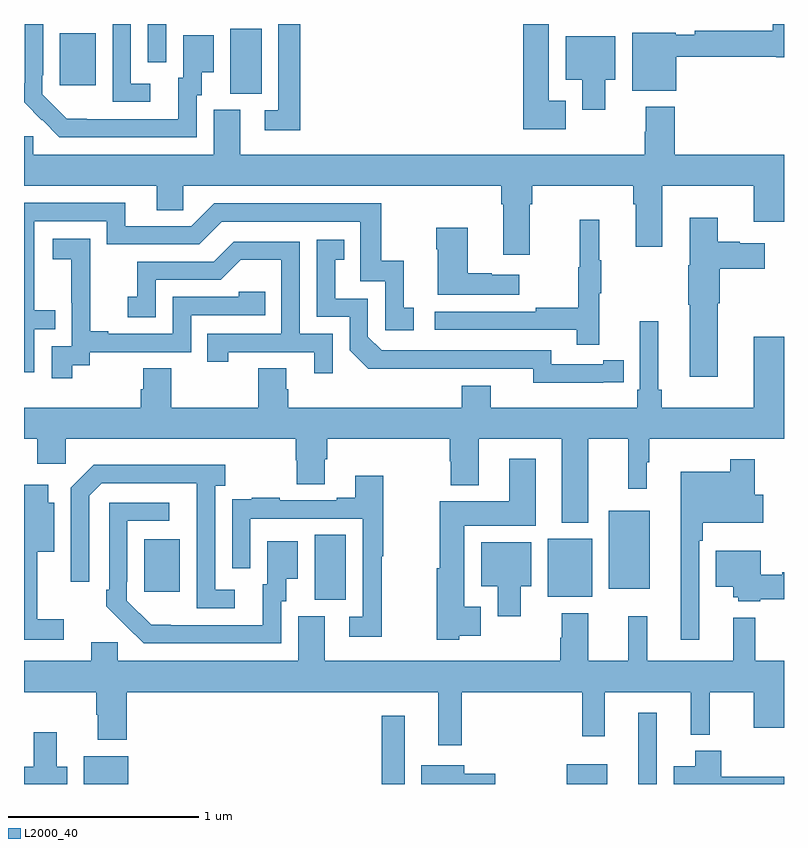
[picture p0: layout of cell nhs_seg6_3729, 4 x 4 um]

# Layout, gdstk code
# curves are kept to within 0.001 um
import gdstk
lib = gdstk.Library(unit=1e-6, precision=1e-09)
def R(c, l, rs):  # rectangles x0, y0, x1, y1
    for r in rs: c.add(gdstk.rectangle(r[:2], r[2:], *l))
def P(c, l, *ps):  # polygons
    for p in ps: c.add(gdstk.Polygon(p, *l))
L2000_40 = (2000, 40)

nhs_seg6_3729 = lib.new_cell('nhs_seg6_3729')
R(nhs_seg6_3729, L2000_40, [(329.315,965.5,329.548,965.647), (330.882,965.5,331.003,965.86), (331.856,965.5,332.071,965.605), (332.234,965.5,332.331,965.875), (330.53,966.469,330.694,966.812), (331.757,966.485,331.99,966.79), (329.633,966.513,329.821,966.787), (332.078,966.527,332.293,966.937), (330.086,969.133,330.25,969.476), (329.189,969.177,329.377,969.451), (329.652,969.3,329.748,969.5)])
P(nhs_seg6_3729, L2000_40, [(330.455,969.5),(330.339,969.5),(330.339,969.045),(330.267,969.045),(330.267,968.94),(330.455,968.94)],
  [(329.665,969.186),(329.562,969.186),(329.562,969.5),(329.466,969.5),(329.466,969.09),(329.665,969.09)],
  [(331.852,969.097),(331.762,969.097),(331.762,969.5),(331.628,969.5),(331.628,968.945),(331.852,968.945)],
  [(332.434,969.328),(332.958,969.328),(332.958,969.326),(333,969.326),(333,969.5),(332.942,969.5),(332.942,969.464),(332.53,969.464),(332.53,969.444),(332.43,969.444),(332.43,969.454),(332.201,969.454),(332.201,969.149),(332.434,969.149)],
  [(329.91,969.126),(329.935,969.126),(329.935,969.245),(329.998,969.245),(329.998,969.442),(329.837,969.442),(329.837,969.216),(329.813,969.216),(329.813,969),(329.226,969.001),(329.097,969.129),(329.097,969.229),(329.1,969.229),(329.1,969.5),(329.004,969.5),(329.004,969.187),(329,969.187),(329,969.088),(329.186,968.904),(329.91,968.904)],
  [(332.059,969.206),(332.113,969.206),(332.113,969.436),(331.85,969.436),(331.85,969.206),(331.937,969.206),(331.937,969.048),(332.059,969.048)],
  [(332.273,969.064),(332.273,968.933),(332.266,968.933),(332.266,968.812),(330.139,968.812),(330.139,969.048),(329.999,969.048),(329.999,968.812),(329.049,968.812),(329.049,968.91),(329,968.91),(329,968.648),(329.699,968.648),(329.699,968.521),(329.838,968.521),(329.838,968.648),(331.511,968.648),(331.511,968.552),(331.523,968.552),(331.523,968.286),(331.663,968.286),(331.663,968.552),(331.676,968.552),(331.676,968.648),(332.207,968.648),(332.207,968.552),(332.219,968.552),(332.219,968.328),(332.359,968.328),(332.359,968.648),(332.84,968.648),(332.84,968.46),(333,968.46),(333,968.812),(332.426,968.812),(332.426,969.064)],
  [(329.055,967.893),(329.165,967.893),(329.165,967.994),(329.055,967.994),(329.055,968.463),(329.436,968.463),(329.436,968.34),(329.922,968.34),(330.042,968.46),(330.771,968.46),(330.771,968.145),(330.9,968.145),(330.9,967.887),(331.051,967.887),(331.051,968.007),(330.998,968.007),(330.998,968.254),(330.88,968.254),(330.88,968.556),(330,968.556),(329.88,968.436),(329.533,968.436),(329.533,968.559),(329,968.559),(329,967.668),(329.055,967.668)],
  [(332.65,968.029),(332.663,968.029),(332.663,968.213),(332.899,968.213),(332.899,968.347),(332.766,968.347),(332.766,968.355),(332.65,968.355),(332.65,968.479),(332.504,968.479),(332.504,968.229),(332.497,968.229),(332.497,968.023),(332.504,968.023),(332.504,967.644),(332.65,967.644)],
  [(332.027,968.083),(332.038,968.083),(332.038,968.257),(332.027,968.257),(332.027,968.47),(331.924,968.47),(331.924,968.22),(331.917,968.22),(331.917,968.006),(331.693,968.006),(331.693,967.986),(331.161,967.986),(331.161,967.89),(331.909,967.89),(331.909,967.812),(332.027,967.812)],
  [(331.606,968.179),(331.463,968.179),(331.463,968.189),(331.336,968.189),(331.336,968.428),(331.171,968.428),(331.171,968.315),(331.178,968.315),(331.178,968.075),(331.606,968.075)],
  [(329.254,967.705),(329.346,967.705),(329.346,967.773),(329.88,967.773),(329.88,967.968),(330.269,967.968),(330.269,968.091),(330.129,968.091),(330.129,968.064),(329.784,968.064),(329.784,967.869),(329.443,967.869),(329.443,967.882),(329.348,967.882),(329.348,968.165),(329.349,968.165),(329.349,968.371),(329.151,968.371),(329.151,968.261),(329.249,968.261),(329.249,968.033),(329.25,968.033),(329.25,967.803),(329.145,967.803),(329.145,967.635),(329.254,967.635)],
  [(332.048,967.614),(332.156,967.614),(332.156,967.73),(332.048,967.73),(332.048,967.71),(331.776,967.71),(331.776,967.782),(330.882,967.782),(330.81,967.854),(330.81,968.055),(330.637,968.055),(330.637,968.259),(330.686,968.259),(330.686,968.365),(330.54,968.365),(330.54,967.959),(330.714,967.959),(330.714,967.782),(330.812,967.685),(331.68,967.686),(331.68,967.613)],
  [(330.624,967.869),(330.45,967.869),(330.45,968.355),(330.104,968.355),(329.999,968.25),(329.596,968.25),(329.596,968.065),(329.547,968.065),(329.547,967.956),(329.694,967.956),(329.694,968.154),(330.036,968.154),(330.14,968.258),(330.354,968.258),(330.354,967.869),(329.965,967.869),(329.965,967.722),(330.076,967.722),(330.076,967.773),(330.527,967.773),(330.527,967.662),(330.624,967.662)],
  [(331.969,967.316),(332.18,967.316),(332.18,967.053),(332.278,967.053),(332.278,967.193),(332.29,967.193),(332.29,967.316),(333,967.316),(333,967.855),(332.84,967.855),(332.84,967.48),(332.357,967.48),(332.357,967.576),(332.338,967.576),(332.338,967.936),(332.241,967.936),(332.241,967.576),(332.228,967.576),(332.228,967.48),(331.456,967.48),(331.456,967.597),(331.304,967.597),(331.304,967.48),(330.392,967.48),(330.392,967.578),(330.379,967.578),(330.379,967.688),(330.232,967.688),(330.232,967.48),(329.775,967.48),(329.775,967.688),(329.627,967.688),(329.627,967.578),(329.615,967.578),(329.615,967.48),(329,967.48),(329,967.316),(329.069,967.316),(329.069,967.185),(329.22,967.185),(329.22,967.316),(330.431,967.316),(330.431,967.203),(330.436,967.203),(330.436,967.078),(330.583,967.078),(330.583,967.21),(330.596,967.21),(330.596,967.316),(331.241,967.316),(331.241,967.2),(331.246,967.2),(331.246,967.073),(331.393,967.073),(331.393,967.316),(331.829,967.316),(331.829,966.875),(331.969,966.875)],
  [(331.29,966.281),(331.405,966.281),(331.405,966.433),(331.318,966.433),(331.318,966.86),(331.693,966.86),(331.693,967.213),(331.553,967.213),(331.553,966.988),(331.189,966.988),(331.189,966.636),(331.172,966.636),(331.172,966.26),(331.29,966.26)],
  [(332.553,966.779),(332.573,966.779),(332.573,966.875),(332.89,966.875),(332.89,967.023),(332.846,967.023),(332.846,967.21),(332.718,967.21),(332.718,967.144),(332.456,967.144),(332.456,966.258),(332.553,966.258)],
  [(330.109,966.522),(330.006,966.522),(330.006,967.07),(330.058,967.07),(330.058,967.18),(329.368,967.18),(329.247,967.059),(329.247,966.564),(329.343,966.564),(329.343,967.017),(329.409,967.083),(329.909,967.083),(329.91,966.426),(330.109,966.426)],
  [(330.884,966.699),(330.892,966.699),(330.892,967.123),(330.743,967.123),(330.743,967.006),(330.647,967.006),(330.647,966.993),(330.347,966.993),(330.347,967.006),(330.199,967.006),(330.199,966.999),(330.097,966.999),(330.097,966.89),(330.096,966.89),(330.096,966.636),(330.192,966.636),(330.192,966.897),(330.783,966.897),(330.783,966.381),(330.711,966.381),(330.711,966.276),(330.884,966.276)],
  [(329.209,966.367),(329.069,966.367),(329.069,966.722),(329.158,966.722),(329.158,966.979),(329.128,966.979),(329.128,967.075),(329,967.075),(329,966.258),(329.209,966.258)],
  [(330.354,966.462),(330.379,966.462),(330.379,966.581),(330.442,966.581),(330.442,966.778),(330.281,966.778),(330.281,966.552),(330.257,966.552),(330.257,966.336),(329.67,966.337),(329.541,966.465),(329.541,966.565),(329.544,966.565),(329.544,966.885),(329.764,966.885),(329.764,966.981),(329.448,966.981),(329.448,966.523),(329.433,966.523),(329.433,966.435),(329.63,966.24),(330.354,966.24)],
  [(331.615,966.542),(331.669,966.542),(331.669,966.772),(331.406,966.772),(331.406,966.542),(331.493,966.542),(331.493,966.384),(331.615,966.384)],
  [(332.874,966.472),(333,966.472),(333,966.614),(332.991,966.614),(332.991,966.601),(332.878,966.601),(332.878,966.727),(332.642,966.727),(332.642,966.539),(332.732,966.539),(332.732,966.483),(332.76,966.483),(332.76,966.461),(332.874,966.461)],
  [(331.303,965.984),(331.939,965.984),(331.939,965.751),(332.057,965.751),(332.057,965.984),(332.51,965.984),(332.51,965.759),(332.61,965.759),(332.61,965.984),(332.84,965.984),(332.84,965.796),(333,965.796),(333,966.148),(332.849,966.148),(332.849,966.376),(332.732,966.376),(332.732,966.148),(332.279,966.148),(332.279,966.382),(332.18,966.382),(332.18,966.148),(331.969,966.148),(331.969,966.4),(331.829,966.4),(331.829,966.269),(331.822,966.269),(331.822,966.148),(330.583,966.148),(330.583,966.384),(330.443,966.384),(330.443,966.148),(329.493,966.148),(329.493,966.246),(329.354,966.246),(329.354,966.148),(329,966.148),(329,965.984),(329.38,965.984),(329.38,965.864),(329.387,965.864),(329.387,965.732),(329.54,965.732),(329.54,965.984),(331.181,965.984),(331.181,965.703),(331.303,965.703)],
  [(329.227,965.59),(329.173,965.59),(329.173,965.773),(329.051,965.773),(329.051,965.59),(329,965.59),(329,965.5),(329.227,965.5)],
  [(333,965.537),(332.669,965.537),(332.669,965.674),(332.534,965.674),(332.534,965.593),(332.42,965.593),(332.42,965.5),(333,965.5)],
  [(331.48,965.553),(331.318,965.553),(331.318,965.599),(331.091,965.599),(331.091,965.5),(331.48,965.5)])

lib.write_gds('nhs_seg6_3729.gds')
